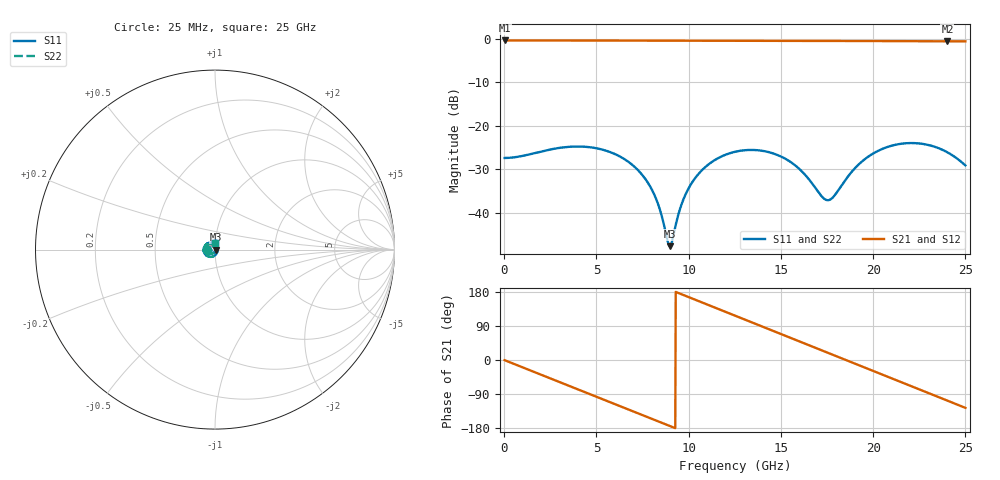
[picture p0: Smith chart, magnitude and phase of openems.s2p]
! thru_RG_ts6p_L4: 2×thru, L4, 8 mm
! stackup: ThunderScope Rev5.3 6-layer with the In2 plane
! ports: 1, 2
! openEMS 0.37.0, staircase, fine mesh (dfine 0.035 mm), 230850 cells
# Hz S RI R 50
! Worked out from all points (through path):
!   1000 points, 25 MHz to 25 GHz, reference 50 ohm
!   highest |S21| = -0.38 dB at 25 MHz (marker M1); lowest = -0.6 dB at 24.02 GHz (marker M2)
!   group delay of S21, straight-line fit = 54 ps
!   lowest |S11| = -47.7 dB at 8.975 GHz (marker M3), VSWR 1.01, Z = 50.4 - j0.0865 ohm
!   |S11| at or under -10 dB: start of sweep to end of sweep
!   |S22| runs from -47.7 to -24.0 dB; largest |S21 - S12| = 0
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2.5e7  -0.0426 -5.86e-05  0.9573 -0.0081  0.9573 -0.0081  -0.0426 -5.86e-05
1.9e9  -0.0499 0.000348  0.7656 -0.5742  0.7656 -0.5742  -0.0499 0.000348
3.1e9  -0.0551 0.0103  0.476 -0.8293  0.476 -0.8293  -0.0551 0.0103
4.2e9  -0.0523 0.0241  0.1419 -0.9447  0.1419 -0.9447  -0.0523 0.0241
5.475e9  -0.0368 0.0368  -0.2653 -0.9169  -0.2653 -0.9169  -0.0368 0.0368
6.8e9  -0.0132 0.0352  -0.6361 -0.7114  -0.6361 -0.7114  -0.0132 0.0352
7.7e9  -0.000183 0.0236  -0.8202 -0.4878  -0.8202 -0.4878  -0.000183 0.0236
8.35e9  0.00446 0.0116  -0.9069 -0.2967  -0.9069 -0.2967  0.00446 0.0116
8.975e9  0.00403 -0.000858  -0.9488 -0.0991  -0.9488 -0.0991  0.00403 -0.000858
9.675e9  -0.00223 -0.0133  -0.945 0.1271  -0.945 0.1271  -0.00223 -0.0133
1.03e10  -0.012 -0.0209  -0.8963 0.3231  -0.8963 0.3231  -0.012 -0.0209
1.1275e10  -0.0309 -0.023  -0.7414 0.5958  -0.7414 0.5958  -0.0309 -0.023
1.2525e10  -0.0496 -0.00797  -0.4299 0.8458  -0.4299 0.8458  -0.0496 -0.00797
1.455e10  -0.0386 0.029  0.2017 0.9245  0.2017 0.9245  -0.0386 0.029
1.57e10  -0.0137 0.0333  0.5376 0.7784  0.5376 0.7784  -0.0137 0.0333
1.6675e10  0.00574 0.0212  0.7618 0.5611  0.7618 0.5611  0.00574 0.0212
1.765e10  0.014 -0.00142  0.903 0.2817  0.903 0.2817  0.014 -0.00142
1.92e10  -0.00501 -0.0353  0.9195 -0.2128  0.9195 -0.2128  -0.00501 -0.0353
2.085e10  -0.0471 -0.0332  0.661 -0.668  0.661 -0.668  -0.0471 -0.0332
2.2475e10  -0.0623 0.00658  0.2109 -0.9121  0.2109 -0.9121  -0.0623 0.00658
2.4025e10  -0.0322 0.0375  -0.2769 -0.8932  -0.2769 -0.8932  -0.0322 0.0375
2.5e10  -0.00237 0.0349  -0.5542 -0.7535  -0.5542 -0.7535  -0.00237 0.0349
